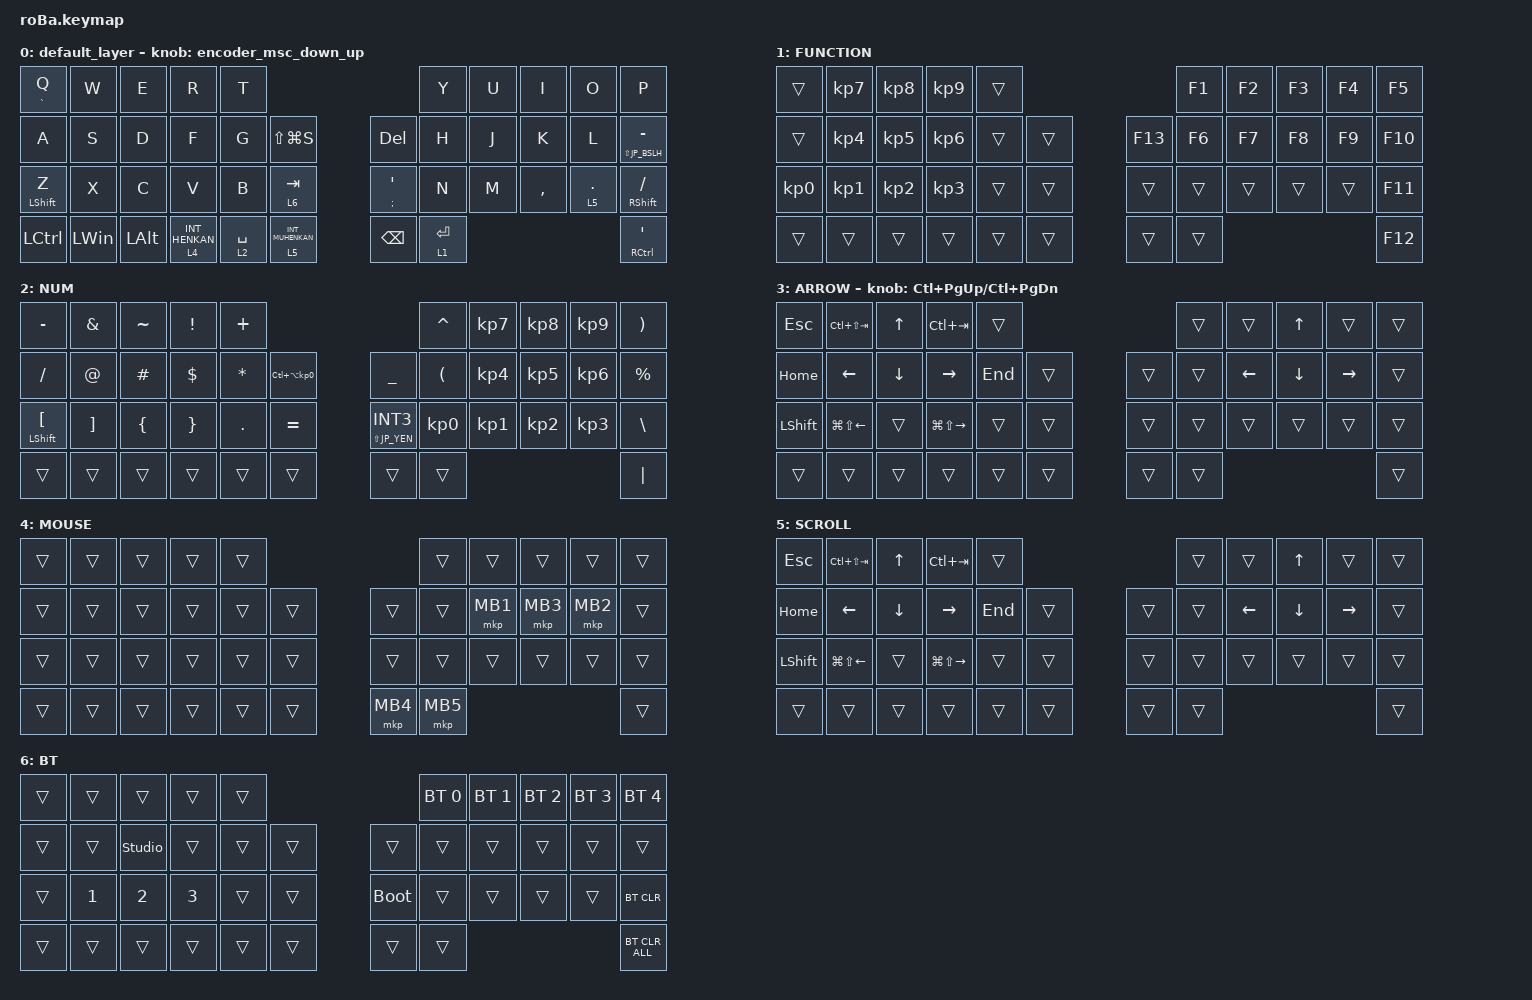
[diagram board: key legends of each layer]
#include <input/processors.dtsi>
//#include <behaviors/rgbled_widget.dtsi>
#include <input/processors/runtime-input-processor.dtsi>
#include <behaviors/runtime-sensor-rotate.dtsi>
#include <behaviors/battery_history_request.dtsi>
#include <behaviors.dtsi>
#include <dt-bindings/zmk/bt.h>
#include <dt-bindings/zmk/keys.h>
#include <dt-bindings/zmk/pointing.h>

#define MOUSE 4
#define ZMK_POINTING_DEFAULT_SCRL_VAL 80
#define JP_ZKHK  GRAVE        // Zenkaku ↔ Hankaku ↔ Kanji (半角 ↔ 全角 ↔ 漢字)
#define JP_MINUS MINUS        // -
#define JP_CARET EQUAL        // ^
#define JP_YEN   INT3         // ¥
#define JP_AT    LBKT         // @
#define JP_LBKT  RBKT         // [
#define JP_EISU  CAPS         // Eisū (英数)
#define JP_SEMI  SEMI         // ;
#define JP_COLON SQT          // :
#define JP_RBKT  NUHS         // ]
#define JP_COMMA COMMA        // ,
#define JP_DOT   DOT          // .
#define JP_SLASH SLASH        // /
#define JP_BSLH  INT1         // (backslash)
#define JP_MHEN  INT5         // Muhenkan (無変換)
#define JP_HENK  INT4         // Henkan (変換)
#define JP_KANA  INT2         // Katakana ↔ Hiragana ↔ Rōmaji (カタカナ ↔ ひらがな ↔ ローマ字)
#define JP_EXCL  LS(N1)       // !
#define JP_DQT   LS(N2)       // "
#define JP_HASH  LS(N3)       // #
#define JP_DLLR  LS(N4)       // $
#define JP_PRCNT LS(N5)       // %
#define JP_AMPS  LS(N6)       // &
#define JP_SQT   LS(N7)       // '
#define JP_LPAR  LS(N8)       // (
#define JP_RPAR  LS(N9)       // )
#define JP_EQUAL LS(JP_MINUS) // =
#define JP_TILDE LS(JP_CARET) // ~
#define JP_PIPE  LS(JP_YEN)   // |
#define JP_GRAVE LS(JP_AT)    // `
#define JP_LBRC  LS(JP_LBKT)  // {
#define JP_CAPS  LS(JP_EISU)  // Caps Lock
#define JP_PLUS  LS(JP_SEMI)  // +
#define JP_ASTRK LS(JP_COLON) // *
#define JP_RBRC  LS(JP_RBKT)  // }
#define JP_LT    LS(JP_COMMA) // <
#define JP_RT    LS(JP_DOT)   // >
#define JP_QMARK LS(JP_SLASH) // ?
#define JP_UNDER LS(JP_BSLH)  // _

&mt {
    flavor = "balanced";
    quick-tap-ms = <0>;
    tapping-term-ms = <300>;
};

&mkp_input_listener { input-processors = <&zip_temp_layer 4 10000>; };

&trackball {
    //automouse-layer = <4>;

    scroll-layers = <5>;

    // arrows {
    //     layers = <3>;
    //     bindings =
    //         <&kp RIGHT_ARROW>,
    //         <&kp LEFT_ARROW>,
    //         <&kp UP_ARROW>,
    //         <&kp DOWN_ARROW>;
    //     tick = <10>;
    //     wait-ms = <5>;
    //     tap-ms = <5>;
    // };
};

/ {
    combos {
        compatible = "zmk,combos";

        tab {
            bindings = <&kp TAB>;
            key-positions = <11 12>;
        };

        shift_tab {
            bindings = <&kp LS(TAB)>;
            key-positions = <12 13>;
        };

        muhennkann {
            bindings = <&to_layer_0 INT_MUHENKAN>;
            key-positions = <11 10>;
        };

        double_quotation {
            bindings = <&kp DOUBLE_QUOTES>;
            key-positions = <20 21>;
        };

        eq {
            bindings = <&kp EQUAL>;
            key-positions = <24 25>;
        };
    };

    macros {
        to_layer_0: to_layer_0 {
            compatible = "zmk,behavior-macro-one-param";
            #binding-cells = <1>;
            bindings = <&to 0 &macro_param_1to1 &kp MACRO_PLACEHOLDER>;
            label = "TO_LAYER_0";
        };

        exit_AML: exit_AML {
            compatible = "zmk,behavior-macro";
            wait-ms = <0>;
            tap-ms = <0>;
            #binding-cells = <0>;
            bindings = <&tog_off MOUSE>;
            label = "exit_AML";
        };

        kp_exit_AML: kp_exit_AML {
            compatible = "zmk,behavior-macro-one-param";
            wait-ms = <0>;
            tap-ms = <0>;
            #binding-cells = <1>;
            bindings = <&macro_param_1to1 &kp MACRO_PLACEHOLDER &exit_AML>;
            label = "KP_exit_AML";
        };
    };

    behaviors {
        lt_to_layer_0: lt_to_layer_0 {
            compatible = "zmk,behavior-hold-tap";
            label = "LAYER_TAP_TO_0";
            bindings = <&mo>, <&to_layer_0>;

            #binding-cells = <2>;
            tapping-term-ms = <300>;
        };

        tog_off: toggle_layer_off {
            compatible = "zmk,behavior-toggle-layer";
            #binding-cells = <1>;
            display-name = "Toggle Layer Off";
            toggle-mode = "off";
        };

        mt_exit_AML_on_tap: mt_exit_AML_on_tap {
            compatible = "zmk,behavior-hold-tap";
            label = "MT_exit_AML_ON_TAP";
            bindings = <&kp>, <&kp_exit_AML>;

            #binding-cells = <2>;
            tapping-term-ms = <500>;
            flavor = "balanced";
            quick-tap-ms = <500>;
        };

        encoder_msc_down_up: encoder_msc_down_up {
            compatible = "zmk,behavior-sensor-rotate";
            label = "ENCODER_MSC_DOWN_UP";
            #sensor-binding-cells = <0>;
            bindings = <&msc SCRL_DOWN>, <&msc SCRL_UP>;

            tap-ms = <20>;
        };
    };

    keymap {
        compatible = "zmk,keymap";

        default_layer {
            bindings = <
&mt GRAVE Q                       &kp W         &kp E         &kp R                        &kp T                                                              &kp Y        &kp U  &kp I      &kp O                 &kp P
&kp A                             &kp S         &kp D         &kp F                        &kp G        &kp LS(LG(S))                      &kp DEL            &kp H        &kp J  &kp K      &kp L                 &mt JP_UNDER MINUS
&mt_exit_AML_on_tap LEFT_SHIFT Z  &kp X         &kp C         &kp V                        &kp B        &lt_to_layer_0 6 TAB               &mt SEMICOLON SQT  &kp N        &kp M  &kp COMMA  &lt_to_layer_0 5 DOT  &mt_exit_AML_on_tap RIGHT_SHIFT SLASH
&kp LCTRL                         &kp LEFT_WIN  &kp LEFT_ALT  &lt_to_layer_0 4 INT_HENKAN  &lt 2 SPACE  &lt_to_layer_0 5 INT_MUHENKAN      &kp BACKSPACE      &lt 1 ENTER                                          &mt_exit_AML_on_tap RIGHT_CONTROL SQT
            >;

            sensor-bindings = <&encoder_msc_down_up>;
        };

        FUNCTION {
            bindings = <
&trans     &kp KP_N7  &kp KP_N8  &kp KP_N9  &trans                       &kp F1  &kp F2  &kp F3  &kp F4  &kp F5
&trans     &kp KP_N4  &kp KP_N5  &kp KP_N6  &trans  &trans      &kp F13  &kp F6  &kp F7  &kp F8  &kp F9  &kp F10
&kp KP_N0  &kp KP_N1  &kp KP_N2  &kp KP_N3  &trans  &trans      &trans   &trans  &trans  &trans  &trans  &kp F11
&trans     &trans     &trans     &trans     &trans  &trans      &trans   &trans                          &kp F12
            >;
        };

        NUM {
            bindings = <
&kp MINUS                    &kp AMPERSAND      &kp TILDE       &kp EXCLAMATION  &kp PLUS                                                       &kp CARET             &kp KP_N7  &kp KP_N8  &kp KP_N9  &kp RIGHT_PARENTHESIS
&kp SLASH                    &kp AT_SIGN        &kp HASH        &kp DOLLAR       &kp ASTERISK  &kp LC(LA(KP_NUMBER_0))      &kp UNDERSCORE      &kp LEFT_PARENTHESIS  &kp KP_N4  &kp KP_N5  &kp KP_N6  &kp PERCENT
&mt LEFT_SHIFT LEFT_BRACKET  &kp RIGHT_BRACKET  &kp LEFT_BRACE  &kp RIGHT_BRACE  &kp PERIOD    &kp EQUAL                    &mt JP_PIPE JP_YEN  &kp KP_N0             &kp KP_N1  &kp KP_N2  &kp KP_N3  &kp BACKSLASH
&trans                       &trans             &trans          &trans           &trans        &trans                       &trans              &trans                                                 &kp PIPE
            >;
        };

        ARROW {
            bindings = <
&kp ESCAPE      &kp LC(LS(TAB))         &kp UP_ARROW    &kp LC(TAB)              &trans                       &trans  &trans    &kp UP_ARROW  &trans     &trans
&kp HOME        &kp LEFT_ARROW          &kp DOWN_ARROW  &kp RIGHT_ARROW          &kp END  &trans      &trans  &trans  &kp LEFT  &kp DOWN      &kp RIGHT  &trans
&kp LEFT_SHIFT  &kp LG(LS(LEFT_ARROW))  &trans          &kp LG(LS(RIGHT_ARROW))  &trans   &trans      &trans  &trans  &trans    &trans        &trans     &trans
&trans          &trans                  &trans          &trans                   &trans   &trans      &trans  &trans                                     &trans
            >;

            sensor-bindings = <&inc_dec_kp LC(PAGE_UP) LC(PAGE_DOWN)>;
        };

        MOUSE {
            bindings = <
&trans  &trans  &trans  &trans  &trans                        &trans    &trans    &trans    &trans    &trans
&trans  &trans  &trans  &trans  &trans  &trans      &trans    &trans    &mkp MB1  &mkp MB3  &mkp MB2  &trans
&trans  &trans  &trans  &trans  &trans  &trans      &trans    &trans    &trans    &trans    &trans    &trans
&trans  &trans  &trans  &trans  &trans  &trans      &mkp MB4  &mkp MB5                                &trans
            >;
        };

        SCROLL {
            bindings = <
&kp ESCAPE      &kp LC(LS(TAB))         &kp UP_ARROW    &kp LC(TAB)              &trans                       &trans  &trans    &kp UP_ARROW  &trans     &trans
&kp HOME        &kp LEFT_ARROW          &kp DOWN_ARROW  &kp RIGHT_ARROW          &kp END  &trans      &trans  &trans  &kp LEFT  &kp DOWN      &kp RIGHT  &trans
&kp LEFT_SHIFT  &kp LG(LS(LEFT_ARROW))  &trans          &kp LG(LS(RIGHT_ARROW))  &trans   &trans      &trans  &trans  &trans    &trans        &trans     &trans
&trans          &trans                  &trans          &trans                   &trans   &trans      &trans  &trans                                     &trans
            >;
        };

        BT {
            bindings = <
&trans  &trans        &trans        &trans        &trans                           &bt BT_SEL 0  &bt BT_SEL 1  &bt BT_SEL 2  &bt BT_SEL 3  &bt BT_SEL 4
&trans  &trans        &studio_unlock &trans        &trans  &trans      &trans       &trans      &trans        &trans        &trans        &trans
&trans  &kp NUMBER_1  &kp NUMBER_2  &kp NUMBER_3  &trans  &trans      &bootloader  &trans        &trans        &trans        &trans        &bt BT_CLR
&trans  &trans        &trans        &trans        &trans  &trans      &trans       &trans                                                  &bt BT_CLR_ALL
            >;
        };
    };
};
